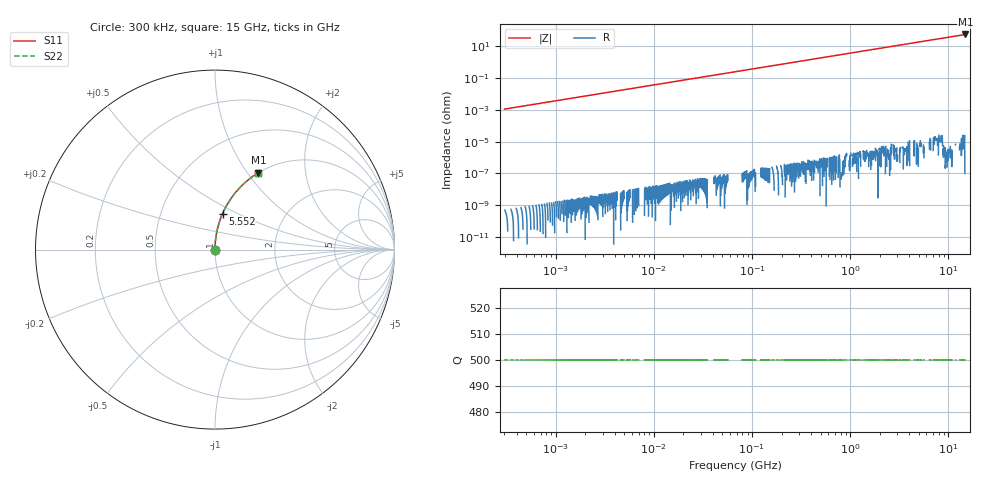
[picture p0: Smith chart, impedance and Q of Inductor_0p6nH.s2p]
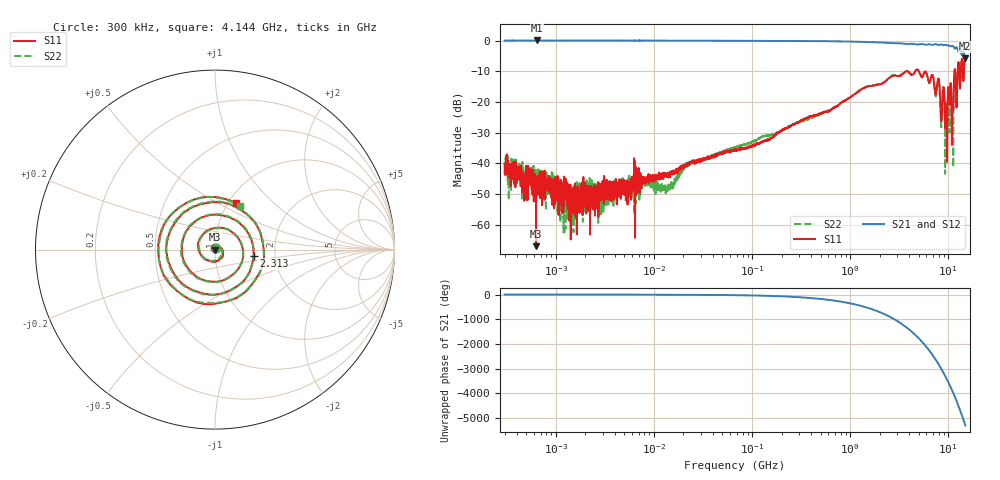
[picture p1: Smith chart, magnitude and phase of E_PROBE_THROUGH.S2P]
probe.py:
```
import skrf as rf
from pylab import *
# from skrf.data import wr2p2_short as short
# from skrf.data import wr2p2_delayshort as delayshort

from skrf import Network, Frequency
induct = Network('Inductor_0p6nH.s2p')
# induct = Network('2.s2p')
probe = Network('E_PROBE_THROUGH.S2P')
probe.frequency.unit = 'ghz'
print(probe.frequency_nb)
# round_sig(probe.frequency, 6) = 'ghz'

# probe = Network('1.S2P')

# Interpolate induct frequency form  probe Frequency
# probe.interpolate_from_f(induct.frequency)
# induct.interpolate_from_f(probe.frequency)
# if probe.frequency == induct.frequency :
#    print("good!")
# else :
# print("bad!")
# probe.write_touchstone('probe.freq')
# induct.write_touchstone('induct.freq')

# whatwewant = induct.inv ** probe


# short_2 = line.inv ** delayshort

# if short_2 == short :
# print("good!")

# figure()
# difference = (short - delayshort)
# difference.plot_s_mag(label='Mag of difference')
# induct.plot_s_db(m=0, n=0, label='Mag of inductor')
# probe.plot_s_db(m=0, n=0,label='Mag of probe')
# delayshort.plot_s_mag(label='Mag of Measure')
# whatwewant.plot_s_db(m=0, n=0,label='Mag of what we want')

# draw();show();
```
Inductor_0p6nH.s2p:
! Touchstone file from project
! Exported from ElectronicsDesktop 2016.2.0
!Created with skrf (http://scikit-rf.org).
# GHz S RI R 50.0
!freq ReS11 ImS11 ReS21 ImS21 ReS12 ImS12 ReS22 ImS22
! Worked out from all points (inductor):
!   3500 points, 300 kHz to 15 GHz, reference 50 ohm
!   read as one part in series: L = 600 pH near 318.6 kHz
!   highest |Z| = 56.5 ohm at 15 GHz (marker M1)
!   S11 on the Smith chart (normalised r, x): 300 kHz: 1.00, +0.00; 5.552 GHz: 1.00, +0.42; 15 GHz: 1.00, +1.13
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0.0003  1.18e-10 1.13e-05  1 -1.13e-05  1 -1.13e-05  1.18e-10 1.13e-05
0.00252003  8.95e-09 9.5e-05  1 -9.5e-05  1 -9.5e-05  8.95e-09 9.5e-05
0.00268452  1.02e-08 0.000101  1 -0.000101  1 -0.000101  1.02e-08 0.000101
0.0672388  6.42e-06 0.00253  1 -0.00253  1 -0.00253  6.42e-06 0.00253
0.389158  0.000215 0.0147  0.9998 -0.0147  0.9998 -0.0147  0.000215 0.0147
1.2008  0.00205 0.0452  0.998 -0.0452  0.998 -0.0452  0.00205 0.0452
2.78217  0.0109 0.1037  0.9891 -0.1037  0.9891 -0.1037  0.0109 0.1037
5.55166  0.042 0.2005  0.958 -0.2005  0.958 -0.2005  0.042 0.2005
9.38097  0.1112 0.3143  0.8888 -0.3143  0.8888 -0.3143  0.1112 0.3143
11.6334  0.1613 0.3678  0.8387 -0.3678  0.8387 -0.3678  0.1613 0.3678
15  0.2423 0.4285  0.7577 -0.4285  0.7577 -0.4285  0.2423 0.4285
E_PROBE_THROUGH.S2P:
!Agilent Technologies,E5071C,MY46522545,B.13.01
!Date: Tue Sep 24 16:45:52 2019
!Data & Calibration Information:
!Freq	S11:SOLT2(ON)	S21:SOLT2(ON)	S12:SOLT2(ON)	S22:SOLT2(ON)
!PortZ  Port1:50+j0  Port2:50+j0
!Above PortZ is port z conversion or system Z0 setting when saving the data.
!When reading, reference impedance value at option line is always used.
!Created with skrf (http://scikit-rf.org).
# Hz S RI R 50.0
!freq ReS11 ImS11 ReS21 ImS21 ReS12 ImS12 ReS22 ImS22
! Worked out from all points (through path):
!   3500 points, 300 kHz to 15 GHz, reference 50 ohm
!   highest |S21| = 0.04 dB at 639.1 kHz (marker M1); lowest = -5.7 dB at 14.88 GHz (marker M2)
!   group delay of S21, straight-line fit = 983 ps
!   lowest |S11| = -67.0 dB at 628.5 kHz (marker M3), VSWR 1.00, Z = 50 + j0.0391 ohm
!   |S11| at or under -10 dB: start of sweep to 3.718 GHz; 3.906 GHz to 4.615 GHz (708.4 MHz wide, 16.6 % of centre); 5.044 GHz to 11.6 GHz (6.552 GHz wide, 78.7 % of centre)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
!   |S22| runs from -63.1 to -6.3 dB; largest |S21 - S12| = 0.009
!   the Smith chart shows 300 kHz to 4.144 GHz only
!   S11 on the Smith chart (normalised r, x): 300 kHz: 1.00, +0.01; 2.313 GHz: 1.54, -0.11; 4.144 GHz: 1.08, +0.61
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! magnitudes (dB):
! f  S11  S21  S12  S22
! 300 kHz  -43.1  0.0  0.0  -39.5
! 628.5 kHz  -67.0  0.0  0.0  -45.3
! 639.1 kHz  -49.5  0.0  0.0  -44.4
! 1.471 MHz  -49.5  0.0  0.0  -58.2
! 67.24 MHz  -35.7  -0.1  -0.1  -35.1
! 2.313 GHz  -13.2  -0.7  -0.7  -13.1
! 4.144 GHz  -10.9  -1.1  -1.1  -11.0
! 6.883 GHz  -11.4  -1.4  -1.4  -11.3
! 9.609 GHz  -22.7  -1.4  -1.5  -21.3
! 14.88 GHz  -5.3  -5.7  -5.7  -6.4
! 15 GHz  -5.7  -5.6  -5.5  -6.4
